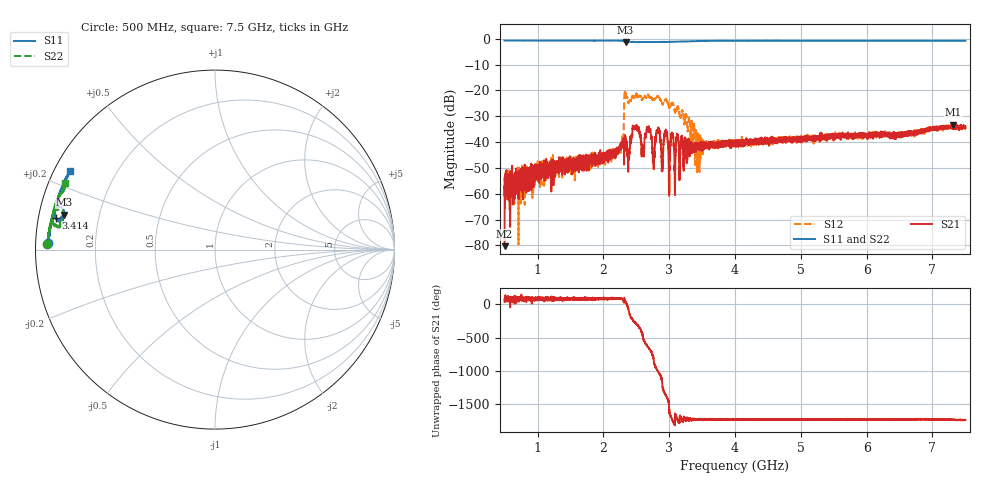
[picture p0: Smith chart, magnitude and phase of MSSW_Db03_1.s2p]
!Keysight Technologies,M9374A,MY55442783,A.12.55.05
!Date: Wednesday, May 19, 2021 15:34:15
!Correction: S11(Full 2 Port(1,2))
!S21(Full 2 Port(1,2))
!S12(Full 2 Port(1,2))
!S22(Full 2 Port(1,2))
!S2P File: Measurements: S11, S21, S12, S22:
# Hz S  RI  R 50
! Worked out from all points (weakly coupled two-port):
!   7001 points, 500 MHz to 7.5 GHz, reference 50 ohm
!   highest |S21| = -33.22 dB at 7.316 GHz (marker M1); lowest = -80.3 dB at 500 MHz (marker M2)
!   lowest |S11| = -1.3 dB at 2.338 GHz (marker M3), VSWR 13.38, Z = 3.79 + j5.71 ohm
!   |S11| at or under -10 dB: nowhere
!   |S22| runs from -1.3 to -0.6 dB; largest |S21 - S12| = 0.089
!   S11 on the Smith chart (normalised r, x): 500 MHz: 0.04, +0.02; 3.414 GHz: 0.05, +0.10; 7.5 GHz: 0.05, +0.26
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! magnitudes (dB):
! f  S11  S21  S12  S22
! 500 MHz  -0.6  -80.3  -53.7  -0.6
! 542 MHz  -0.6  -53.6  -55.8  -0.6
! 1.667 GHz  -0.7  -49.7  -46.9  -0.6
! 2.238 GHz  -0.7  -43.8  -43.8  -0.6
! 2.277 GHz  -0.7  -40.8  -40.8  -0.7
! 2.338 GHz  -1.3  -38.6  -21.3  -1.3
! 2.39 GHz  -1.1  -44.8  -24.2  -1.1
! 2.481 GHz  -1.2  -34.9  -22.0  -1.2
! 2.597 GHz  -1.2  -43.7  -23.3  -1.2
! 2.688 GHz  -1.2  -33.8  -21.9  -1.2
! 2.767 GHz  -1.2  -45.7  -23.4  -1.2
! 2.834 GHz  -1.2  -35.1  -22.4  -1.2
! 2.894 GHz  -1.2  -48.7  -24.8  -1.2
! 2.948 GHz  -1.2  -35.3  -23.5  -1.1
! 2.998 GHz  -1.1  -55.8  -26.5  -1.1
! 3.28 GHz  -1.0  -41.6  -35.7  -0.9
! 3.414 GHz  -0.9  -41.8  -41.2  -0.8
! 4 GHz  -0.7  -39.5  -40.2  -0.7
! 5.167 GHz  -0.7  -39.2  -37.5  -0.7
! 6.334 GHz  -0.7  -36.7  -37.5  -0.8
! 7.316 GHz  -0.7  -33.2  -34.8  -0.8
! 7.5 GHz  -0.7  -34.0  -34.5  -0.8
